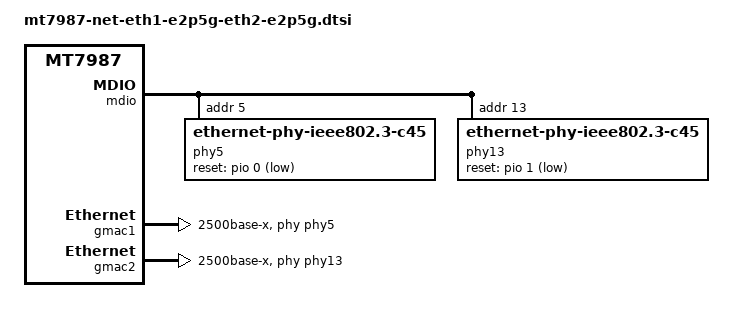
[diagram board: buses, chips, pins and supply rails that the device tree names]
// SPDX-License-Identifier: (GPL-2.0 OR MIT)

&mdio {
	phy5: phy@5 {
		compatible = "ethernet-phy-ieee802.3-c45";
		reg = <5>;
		reset-gpios = <&pio 0 1>;
		reset-assert-us = <600>;
		reset-deassert-us = <20000>;
	};

	phy13: phy@13 {
		compatible = "ethernet-phy-ieee802.3-c45";
		reg = <13>;
		reset-gpios = <&pio 1 1>;
		reset-assert-us = <600>;
		reset-deassert-us = <20000>;
	};
};

&gmac1 {
	compatible = "mediatek,eth-mac";
	reg = <1>;
        mac-type = "gdm";
        phy-mode = "2500base-x";
	phy-handle = <&phy5>;
};

&gmac2 {
	compatible = "mediatek,eth-mac";
	reg = <2>;
        mac-type = "gdm";
        phy-mode = "2500base-x";
	phy-handle = <&phy13>;
};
